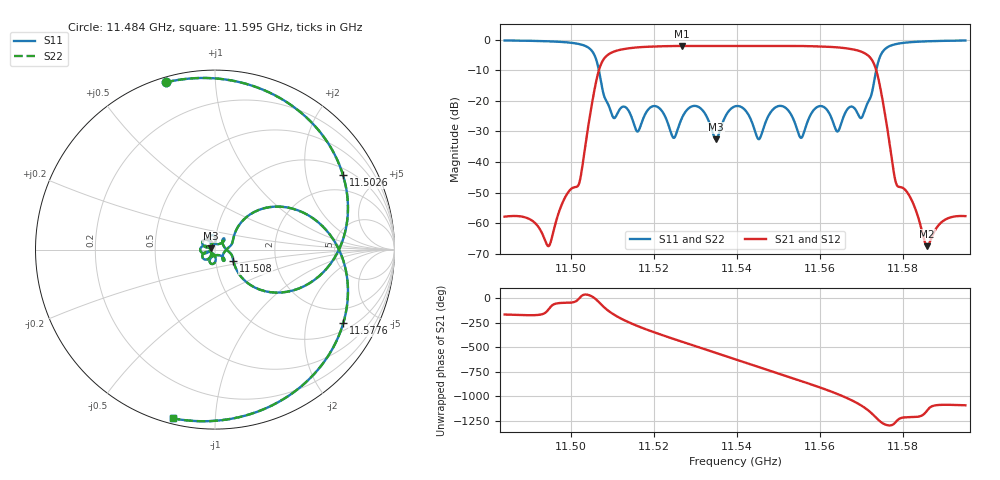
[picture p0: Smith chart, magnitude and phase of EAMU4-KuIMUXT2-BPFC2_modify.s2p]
! Created with skrf (http://scikit-rf.org).
! Parameters = {f0=11540; bw=65; Q=6000; N=10; m_0_1=0.9823957681655884; m_1_1=9.999999747378752e-05; m_1_2=0.807895302772522; m_2_2=9.999999747378752e-05; m_2_3=0.5795771479606628; m_2_9=0.015303798951208591; m_3_3=9.999999747378752e-05; m_3_4=0.5379654765129089; m_3_8=-0.0577123761177063; m_4_4=9.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
# MHz S RI R 50.0
!freq ReS11 ImS11 ReS21 ImS21 ReS12 ImS12 ReS22 ImS22
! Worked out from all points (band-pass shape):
!   1001 points, 11.484 GHz to 11.595 GHz, reference 50 ohm
!   highest |S21| = -2.06 dB at 11.5267 GHz (marker M1); lowest = -67.5 dB at 11.5858 GHz (marker M2)
!   |S21| within 3 dB of the highest: 11.5088 GHz to 11.5714 GHz (62.67 MHz wide, 0.543 % of centre)
!   lowest |S11| = -32.6 dB at 11.5349 GHz (marker M3), VSWR 1.05, Z = 47.8 + j0.607 ohm
!   |S11| at or under -10 dB: 11.5067 GHz to 11.5735 GHz (66.81 MHz wide, 0.579 % of centre)
!   |S22| runs from -32.6 to -0.3 dB; largest |S21 - S12| = 0
!   S11 on the Smith chart (normalised r, x): 11.484 GHz: 0.02, +0.75; 11.5026 GHz: 1.25, +3.26; 11.508 GHz: 1.22, -0.15; 11.5776 GHz: 1.29, -3.29; 11.595 GHz: 0.03, -0.78
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11484  -0.2752 0.9314  -0.00123 -0.000337  -0.00123 -0.000337  -0.2752 0.9314
11494.66  0.1677 0.9251  -0.00013 -0.000402  -0.00013 -0.000402  0.1677 0.9251
11502.54  0.7074 0.4332  0.0063 0.003  0.0063 0.003  0.7074 0.4332
11502.65  0.7129 0.416  0.00684 0.00378  0.00684 0.00378  0.7129 0.416
11507.98  0.1023 -0.0621  -0.00661 -0.4916  -0.00661 -0.4916  0.1023 -0.0621
11511.08  0.041 0.0445  -0.6617 0.0465  -0.6617 0.0465  0.041 0.0445
11514.97  0.0307 0.0337  -0.0796 0.7329  -0.0796 0.7329  0.0307 0.0337
11521.07  -0.00656 0.0775  0.7771 -0.0267  0.7771 -0.0267  -0.00656 0.0775
11526.74  -0.0509 0.0134  0.0967 -0.7833  0.0967 -0.7833  -0.0509 0.0134
11534.95  -0.0227 0.00635  -0.7519 0.239  -0.7519 0.239  -0.0227 0.00635
11539.5  -0.0809 -0.00734  -0.1101 0.7777  -0.1101 0.7777  -0.0809 -0.00734
11547.16  -0.0273 -0.0418  0.7772 -0.1367  0.7772 -0.1367  -0.0273 -0.0418
11552.71  -0.0615 -0.019  0.04 -0.7882  0.04 -0.7882  -0.0615 -0.019
11555.37  -0.015 -0.0197  -0.4458 -0.6499  -0.4458 -0.6499  -0.015 -0.0197
11558.04  0.00253 -0.0645  -0.7455 -0.2344  -0.7455 -0.2344  0.00253 -0.0645
11564.14  0.00408 -0.0312  -0.1662 0.7303  -0.1662 0.7303  0.00408 -0.0312
11568.69  0.0421 -0.0547  0.6545 0.1666  0.6545 0.1666  0.0421 -0.0547
11571.8  0.0958 0.036  0.1596 -0.5082  0.1596 -0.5082  0.0958 0.036
11576.57  0.7408 -0.2307  -0.0184 0.0152  -0.0184 0.0152  0.7408 -0.2307
11577.57  0.7148 -0.4094  -0.00707 0.00408  -0.00707 0.00408  0.7148 -0.4094
11585.79  0.1607 -0.927  0.000174 -0.000383  0.000174 -0.000383  0.1607 -0.927
11595  -0.233 -0.9404  0.00127 -0.000301  0.00127 -0.000301  -0.233 -0.9404
